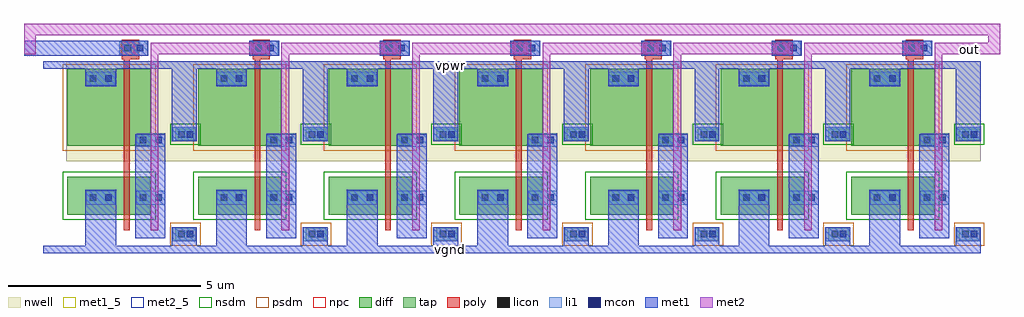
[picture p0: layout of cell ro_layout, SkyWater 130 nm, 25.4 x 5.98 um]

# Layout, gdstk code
import gdstk
lib = gdstk.Library(unit=1e-6, precision=1e-09)
def R(c, l, rs):  # rectangles x0, y0, x1, y1
    for r in rs: c.add(gdstk.rectangle(r[:2], r[2:], *l))
def A(c, l, x, y, w, h, nx, ny, dx, dy):  # array of equal rectangles
    R(c, l, [(x+i*dx, y+j*dy, x+i*dx+w, y+j*dy+h) for i in range(nx) for j in range(ny)])
nwell = (64, 20)
diff = (65, 20)
tap = (65, 44)
poly = (66, 20)
licon = (66, 44)
li1 = (67, 20)
mcon = (67, 44)
met1_5 = (68, 5)
met1 = (68, 20)
met2_5 = (69, 5)
met2 = (69, 20)
nsdm = (93, 44)
psdm = (94, 20)
npc = (95, 20)

ro_layout = lib.new_cell('ro_layout')
R(ro_layout, nwell, [(0,2.4,23.8,5)])
A(ro_layout, diff, 0.03, 1, 2.17, 1, 7, 1, 3.4, 0)
A(ro_layout, diff, 0.03, 2.8, 2.17, 2, 7, 1, 3.4, 0)
A(ro_layout, tap, 2.83, 0.33, 0.54, 0.34, 7, 1, 3.4, 0)
A(ro_layout, tap, 2.83, 2.95, 0.54, 0.3, 7, 1, 3.4, 0)
A(ro_layout, poly, 1.5, 0.6, 0.15, 4.45, 7, 1, 3.4, 0)
A(ro_layout, poly, 1.45, 5.05, 0.45, 0.51, 7, 1, 3.4, 0)
A(ro_layout, licon, 2.915, 0.415, 0.17, 0.17, 7, 2, 3.4, 2.6)
A(ro_layout, licon, 1.915, 2.865, 0.17, 0.17, 7, 1, 3.4, 0)
A(ro_layout, licon, 0.615, 4.465, 0.17, 0.17, 7, 1, 3.4, 0)
A(ro_layout, licon, 1.515, 5.255, 0.17, 0.17, 7, 1, 3.4, 0)
R(ro_layout, licon, [(0.615,1.365,0.785,1.535), (1.915,1.365,2.085,1.535), (4.015,1.365,4.185,1.535), (5.315,1.365,5.485,1.535), (7.415,1.365,7.585,1.535), (8.715,1.365,8.885,1.535), (10.815,1.365,10.985,1.535), (12.115,1.365,12.285,1.535), (14.215,1.365,14.385,1.535), (15.515,1.365,15.685,1.535), (17.615,1.365,17.785,1.535), (18.915,1.365,19.085,1.535), (21.015,1.365,21.185,1.535), (22.315,1.365,22.485,1.535)])
A(ro_layout, li1, 2.77, 0.32, 0.63, 0.36, 7, 2, 3.4, 2.6)
A(ro_layout, li1, 1.82, 2.77, 0.76, 0.36, 7, 1, 3.4, 0)
A(ro_layout, li1, 0.52, 4.37, 0.76, 0.36, 7, 1, 3.4, 0)
A(ro_layout, li1, 1.38, 5.14, 0.74, 0.4, 7, 1, 3.4, 0)
R(ro_layout, li1, [(0.52,1.27,1.28,1.63), (1.82,1.27,2.58,1.63), (3.92,1.27,4.68,1.63), (5.22,1.27,5.98,1.63), (7.32,1.27,8.08,1.63), (8.62,1.27,9.38,1.63), (10.72,1.27,11.48,1.63), (12.02,1.27,12.78,1.63), (14.12,1.27,14.88,1.63), (15.42,1.27,16.18,1.63), (17.52,1.27,18.28,1.63), (18.82,1.27,19.58,1.63), (20.92,1.27,21.68,1.63), (22.22,1.27,22.98,1.63)])
A(ro_layout, mcon, 3.135, 0.415, 0.17, 0.17, 7, 2, 3.4, 2.6)
A(ro_layout, mcon, 2.315, 2.865, 0.17, 0.17, 7, 1, 3.4, 0)
A(ro_layout, mcon, 1.015, 4.465, 0.17, 0.17, 7, 1, 3.4, 0)
A(ro_layout, mcon, 1.835, 5.255, 0.17, 0.17, 7, 1, 3.4, 0)
R(ro_layout, mcon, [(1.015,1.365,1.185,1.535), (2.315,1.365,2.485,1.535), (4.415,1.365,4.585,1.535), (5.715,1.365,5.885,1.535), (7.815,1.365,7.985,1.535), (9.115,1.365,9.285,1.535), (11.215,1.365,11.385,1.535), (12.515,1.365,12.685,1.535), (14.615,1.365,14.785,1.535), (15.915,1.365,16.085,1.535), (18.015,1.365,18.185,1.535), (19.315,1.365,19.485,1.535), (21.415,1.365,21.585,1.535), (22.715,1.365,22.885,1.535)])
R(ro_layout, met1_5, [(10,0.08,10.02,0.1), (10,4.88,10.02,4.9)])
A(ro_layout, met1, 0.5, 0.2, 0.8, 1.45, 7, 1, 3.4, 0)
A(ro_layout, met1, 2.75, 0.2, 0.65, 0.48, 7, 1, 3.4, 0)
A(ro_layout, met1, 1.8, 0.4, 0.78, 2.7, 7, 1, 3.4, 0)
A(ro_layout, met1, 2.75, 2.92, 0.65, 1.88, 7, 1, 3.4, 0)
A(ro_layout, met1, 0.5, 4.35, 0.8, 0.45, 7, 1, 3.4, 0)
A(ro_layout, met1, 4.76, 5.14, 0.78, 0.4, 6, 1, 3.4, 0)
R(ro_layout, met1, [(-0.6,0,23.8,0.2), (-0.6,4.8,23.8,5), (-1.1,5.14,2.14,5.54)])
R(ro_layout, met2_5, [(23.5,5.3,23.52,5.32)])
A(ro_layout, met2, 2.2, 0.6, 0.2, 4.58, 7, 1, 3.4, 0)
A(ro_layout, met2, 2.2, 5.18, 3.1, 0.3, 6, 1, 3.4, 0)
R(ro_layout, met2, [(-1.1,5.18,-0.8,5.68), (22.6,5.18,24.3,5.48), (24,5.48,24.3,5.68), (-1.1,5.68,24.3,5.98)])
A(ro_layout, nsdm, -0.095, 0.875, 2.42, 1.25, 7, 1, 3.4, 0)
A(ro_layout, nsdm, 2.705, 2.825, 0.79, 0.55, 7, 1, 3.4, 0)
A(ro_layout, psdm, 2.705, 0.205, 0.79, 0.59, 7, 1, 3.4, 0)
A(ro_layout, psdm, -0.095, 2.675, 2.42, 2.25, 7, 1, 3.4, 0)
A(ro_layout, npc, 1.415, 5.155, 0.37, 0.37, 7, 1, 3.4, 0)
ro_layout.add(gdstk.Label('vpwr', (10.01,4.89), layer=68, texttype=5))
ro_layout.add(gdstk.Label('vgnd', (10.01,0.09), layer=68, texttype=5))
ro_layout.add(gdstk.Label('out', (23.51,5.31), layer=69, texttype=5))

lib.write_gds('ro_layout.gds')
